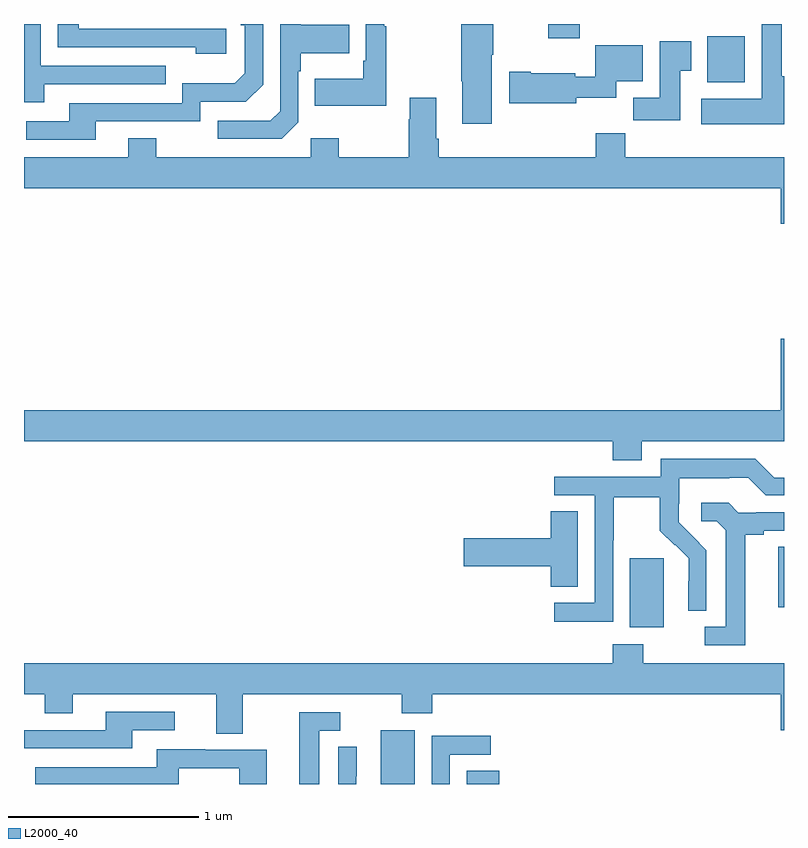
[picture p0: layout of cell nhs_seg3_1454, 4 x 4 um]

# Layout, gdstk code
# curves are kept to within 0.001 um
import gdstk
lib = gdstk.Library(unit=1e-6, precision=1e-09)
def R(c, l, rs):  # rectangles x0, y0, x1, y1
    for r in rs: c.add(gdstk.rectangle(r[:2], r[2:], *l))
def P(c, l, *ps):  # polygons
    for p in ps: c.add(gdstk.Polygon(p, *l))
L2000_40 = (2000, 40)

nhs_seg3_1454 = lib.new_cell('nhs_seg3_1454')
R(nhs_seg3_1454, L2000_40, [(186.878,744.4,187.057,744.682), (187.331,744.4,187.502,744.47), (188.189,745.226,188.368,745.587), (188.969,745.329,189,745.649), (188.597,748.094,188.794,748.336), (187.759,748.326,187.924,748.4)])
P(nhs_seg3_1454, L2000_40, [(186.064,748.374),(185.287,748.374),(185.287,748.4),(185.178,748.4),(185.178,748.278),(185.903,748.278),(185.903,748.244),(186.064,748.244)],
  [(185.107,748.083),(185.747,748.083),(185.747,748.179),(185.088,748.179),(185.088,748.4),(185,748.4),(185,747.989),(185.107,747.989)],
  [(186.444,747.882),(186.444,748.151),(186.457,748.151),(186.457,748.247),(186.713,748.247),(186.713,748.395),(186.457,748.395),(186.457,748.4),(186.348,748.4),(186.348,747.942),(186.297,747.891),(186.021,747.891),(186.021,747.795),(186.357,747.795)],
  [(187.462,748.237),(187.47,748.237),(187.47,748.4),(187.3,748.4),(187.3,748.099),(187.307,748.099),(187.307,747.876),(187.462,747.876)],
  [(189,748.126),(188.989,748.126),(188.989,748.4),(188.882,748.4),(188.882,748.006),(188.565,748.006),(188.565,747.872),(189,747.872)],
  [(186.907,748.387),(186.895,748.387),(186.895,748.4),(186.798,748.4),(186.798,748.207),(186.786,748.207),(186.786,748.111),(186.529,748.111),(186.529,747.971),(186.907,747.971)],
  [(185.377,747.888),(185.928,747.888),(185.928,747.99),(186.168,747.99),(186.258,748.08),(186.258,748.4),(186.142,748.4),(186.142,748.394),(186.162,748.394),(186.162,748.14),(186.109,748.087),(185.832,748.087),(185.832,747.984),(185.237,747.984),(185.237,747.888),(185.013,747.888),(185.013,747.792),(185.377,747.792)],
  [(188.455,748.153),(188.512,748.153),(188.512,748.309),(188.345,748.309),(188.345,748.012),(188.206,748.012),(188.206,747.894),(188.455,747.894)],
  [(187.906,748.013),(188.116,748.013),(188.116,748.1),(188.257,748.1),(188.257,748.288),(188.006,748.288),(188.006,748.123),(187.902,748.123),(187.902,748.141),(187.666,748.141),(187.666,748.149),(187.554,748.149),(187.554,747.983),(187.906,747.983)],
  [(189,747.7),(188.165,747.7),(188.165,747.824),(188.009,747.824),(188.009,747.7),(187.184,747.7),(187.184,747.796),(187.171,747.796),(187.171,748.012),(187.031,748.012),(187.031,747.899),(187.024,747.899),(187.024,747.7),(186.657,747.7),(186.657,747.799),(186.51,747.799),(186.51,747.7),(185.697,747.7),(185.697,747.799),(185.549,747.799),(185.549,747.7),(185,747.7),(185,747.536),(188.984,747.536),(188.984,747.348),(189,747.348)],
  [(188.251,746.204),(189,746.204),(189,746.743),(188.984,746.743),(188.984,746.368),(185,746.368),(185,746.204),(188.099,746.204),(188.099,746.105),(188.251,746.105)],
  [(188.1,745.684),(188.103,745.684),(188.103,745.908),(188.347,745.908),(188.347,745.733),(188.424,745.656),(188.427,745.659),(188.498,745.589),(188.498,745.466),(188.496,745.466),(188.496,745.312),(188.592,745.312),(188.592,745.63),(188.446,745.778),(188.446,745.875),(188.448,745.875),(188.448,746.009),(188.711,746.009),(188.711,746.013),(188.811,746.013),(188.904,745.92),(189,745.92),(189,746.013),(188.949,746.013),(188.849,746.113),(188.352,746.113),(188.352,746.016),(187.791,746.016),(187.791,745.92),(188.004,745.92),(188.004,745.353),(187.791,745.353),(187.791,745.255),(188.1,745.255)],
  [(188.797,745.712),(188.893,745.712),(188.893,745.734),(189,745.734),(189,745.83),(188.854,745.83),(188.854,745.827),(188.76,745.827),(188.708,745.879),(188.565,745.879),(188.565,745.782),(188.646,745.782),(188.693,745.735),(188.693,745.227),(188.583,745.227),(188.583,745.131),(188.797,745.131)],
  [(187.915,745.835),(187.772,745.835),(187.772,745.694),(187.314,745.694),(187.314,745.547),(187.772,745.547),(187.772,745.438),(187.915,745.438)],
  [(186.151,744.872),(186.988,744.872),(186.988,744.773),(187.148,744.773),(187.148,744.872),(188.984,744.872),(188.984,744.684),(189,744.684),(189,745.036),(188.259,745.036),(188.259,745.135),(188.099,745.135),(188.099,745.036),(185,745.036),(185,744.872),(185.11,744.872),(185.11,744.773),(185.257,744.773),(185.257,744.872),(186.011,744.872),(186.011,744.664),(186.151,744.664)],
  [(185.569,744.684),(185.794,744.684),(185.794,744.78),(185.429,744.78),(185.429,744.684),(185,744.684),(185,744.588),(185.569,744.588)],
  [(186.553,744.681),(186.664,744.681),(186.664,744.777),(186.449,744.777),(186.449,744.4),(186.553,744.4)],
  [(187.242,744.555),(187.456,744.555),(187.456,744.654),(187.146,744.654),(187.146,744.4),(187.242,744.4)],
  [(186.749,744.442),(186.75,744.442),(186.75,744.596),(186.654,744.596),(186.654,744.4),(186.749,744.4)],
  [(185.814,744.483),(186.132,744.483),(186.132,744.4),(186.277,744.4),(186.277,744.579),(185.953,744.579),(185.953,744.583),(185.699,744.583),(185.699,744.489),(185.059,744.489),(185.059,744.4),(185.814,744.4)])

lib.write_gds('nhs_seg3_1454.gds')
